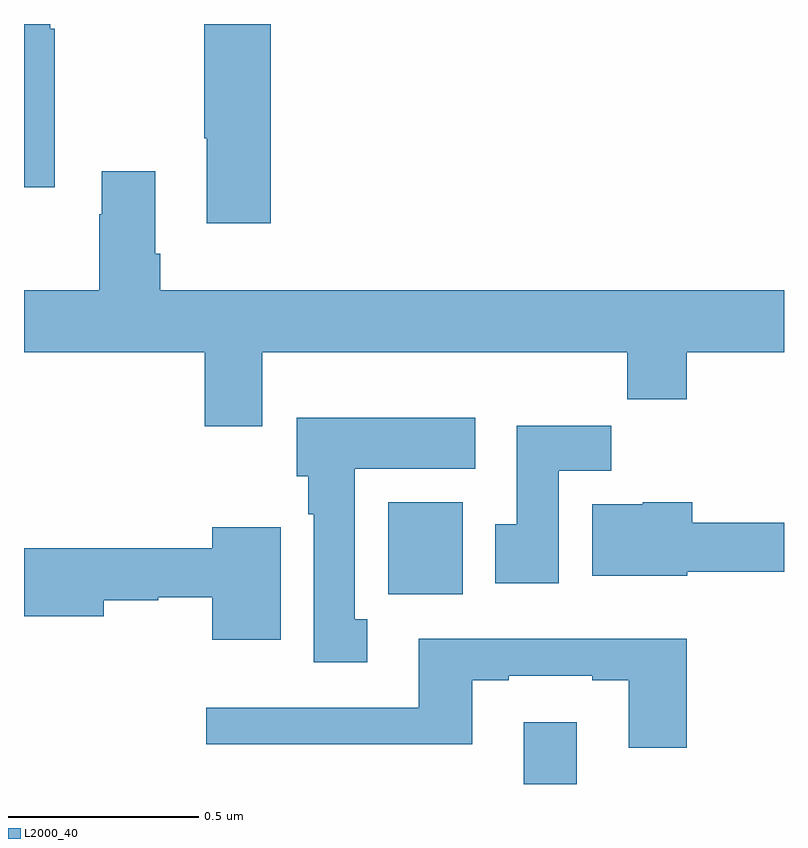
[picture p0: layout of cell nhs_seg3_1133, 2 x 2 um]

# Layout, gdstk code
import gdstk
lib = gdstk.Library(unit=1e-6, precision=1e-09)
def R(c, l, rs):  # rectangles x0, y0, x1, y1
    for r in rs: c.add(gdstk.rectangle(r[:2], r[2:], *l))
def P(c, l, *ps):  # polygons
    for p in ps: c.add(gdstk.Polygon(p, *l))
L2000_40 = (2000, 40)

nhs_seg3_1133 = lib.new_cell('nhs_seg3_1133')
R(nhs_seg3_1133, L2000_40, [(125.315,746.4,125.455,746.563), (124.958,746.9,125.155,747.142)])
P(nhs_seg3_1133, L2000_40, [(124.649,748.4),(124.474,748.4),(124.474,748.099),(124.481,748.099),(124.481,747.876),(124.649,747.876)],
  [(124.081,748.387),(124.069,748.387),(124.069,748.4),(124,748.4),(124,747.971),(124.081,747.971)],
  [(124.627,747.536),(125.587,747.536),(125.587,747.412),(125.744,747.412),(125.744,747.536),(126,747.536),(126,747.7),(124.358,747.7),(124.358,747.796),(124.345,747.796),(124.345,748.012),(124.205,748.012),(124.205,747.899),(124.198,747.899),(124.198,747.7),(124,747.7),(124,747.536),(124.475,747.536),(124.475,747.342),(124.627,747.342)],
  [(124.903,746.834),(124.87,746.834),(124.87,747.23),(125.188,747.23),(125.188,747.364),(124.718,747.364),(124.718,747.21),(124.748,747.21),(124.748,747.11),(124.763,747.11),(124.763,746.721),(124.903,746.721)],
  [(125.407,747.224),(125.546,747.224),(125.546,747.343),(125.297,747.343),(125.297,747.084),(125.24,747.084),(125.24,746.928),(125.407,746.928)],
  [(125.746,746.959),(126,746.959),(126,747.088),(125.759,747.088),(125.759,747.142),(125.628,747.142),(125.628,747.136),(125.495,747.136),(125.495,746.948),(125.746,746.948)],
  [(124.675,747.076),(124.496,747.076),(124.496,747.02),(124,747.02),(124,746.842),(124.21,746.842),(124.21,746.884),(124.353,746.884),(124.353,746.892),(124.496,746.892),(124.496,746.78),(124.675,746.78)],
  [(125.744,746.782),(125.039,746.782),(125.039,746.601),(124.479,746.601),(124.479,746.504),(125.179,746.504),(125.179,746.673),(125.275,746.673),(125.275,746.685),(125.495,746.685),(125.495,746.673),(125.591,746.673),(125.591,746.496),(125.744,746.496)])

lib.write_gds('nhs_seg3_1133.gds')
